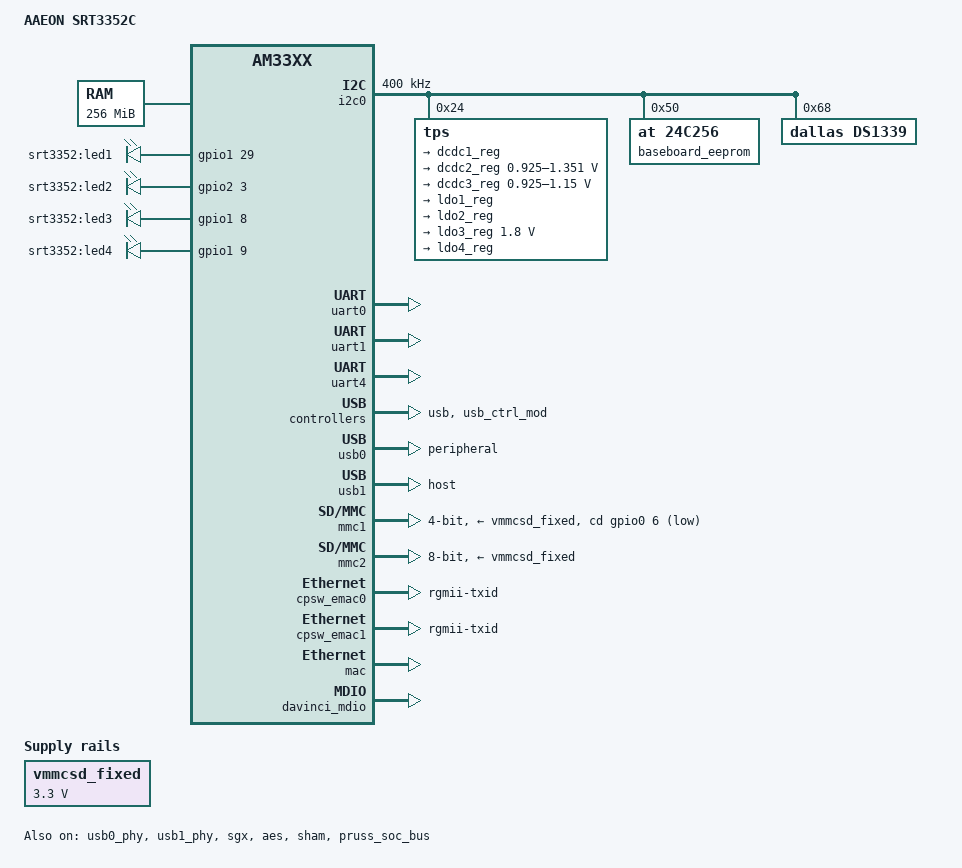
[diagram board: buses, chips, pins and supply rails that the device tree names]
/*
 * Copyright (C) 2012 Texas Instruments Incorporated - http://www.ti.com/
 *
 * This program is free software; you can redistribute it and/or modify
 * it under the terms of the GNU General Public License version 2 as
 * published by the Free Software Foundation.
 */
/dts-v1/;

#include "am33xx.dtsi"
#include "wl1837.dtsi"
#include <dt-bindings/display/tda998x.h>

/ {
	model = "AAEON SRT3352C";
	compatible = "ti,am335x-srt3352c", "ti,am33xx";

	cpus {
		cpu@0 {
			cpu0-supply = <&dcdc2_reg>;
		};
	};

	memory@80000000 {
		device_type = "memory";
		reg = <0x80000000 0x10000000>; /* 256 MB */
	};

	chosen {
		stdout-path = &uart0;
	};

	leds {
		pinctrl-names = "default";
		pinctrl-0 = <&user_leds_s0>;

		compatible = "gpio-leds";

		led2 {
			label = "srt3352:led1";
			gpios = <&gpio1 29 GPIO_ACTIVE_HIGH>;
			linux,default-trigger = "none";
			default-state = "off";
		};

		led3 {
			label = "srt3352:led2";
			gpios = <&gpio2 3 GPIO_ACTIVE_HIGH>;
			linux,default-trigger = "none";
			default-state = "off";
		};

		led4 {
			label = "srt3352:led3";
			gpios = <&gpio1 8 GPIO_ACTIVE_HIGH>;
			linux,default-trigger = "none";
			default-state = "off";
		};

		led5 {
			label = "srt3352:led4";
			gpios = <&gpio1 9 GPIO_ACTIVE_HIGH>;
			linux,default-trigger = "none";
			default-state = "off";
		};
	};

	vmmcsd_fixed: fixedregulator0 {
		compatible = "regulator-fixed";
		regulator-name = "vmmcsd_fixed";
		regulator-min-microvolt = <3300000>;
		regulator-max-microvolt = <3300000>;
	};
};

&am33xx_pinmux {
	pinctrl-names = "default";
	pinctrl-0 = <&clkout2_pin>;

	user_leds_s0: user_leds_s0 {
		pinctrl-single,pins = <
			AM33XX_IOPAD(0x87c, PIN_OUTPUT_PULLDOWN | MUX_MODE7)	/* gpmc_csn0.gpio1_29 */
			AM33XX_IOPAD(0x894, PIN_OUTPUT_PULLDOWN | MUX_MODE7)	/* gpmc_oen_ren.gpio2_3 */
			AM33XX_IOPAD(0x968, PIN_OUTPUT_PULLDOWN | MUX_MODE7)	/* uart0_ctsn.gpio1_8 */
			AM33XX_IOPAD(0x96c, PIN_OUTPUT_PULLDOWN | MUX_MODE7)	/* uart0_rtsn.gpio1_9 */
		>;
	};

	i2c0_pins: pinmux_i2c0_pins {
		pinctrl-single,pins = <
			AM33XX_IOPAD(0x988, PIN_INPUT_PULLUP | MUX_MODE0)	/* i2c0_sda.i2c0_sda */
			AM33XX_IOPAD(0x98c, PIN_INPUT_PULLUP | MUX_MODE0)	/* i2c0_scl.i2c0_scl */
		>;
	};

	uart0_pins: pinmux_uart0_pins {
		pinctrl-single,pins = <
			AM33XX_IOPAD(0x970, PIN_INPUT_PULLUP | MUX_MODE0)	/* uart0_rxd.uart0_rxd */
			AM33XX_IOPAD(0x974, PIN_OUTPUT_PULLDOWN | MUX_MODE0)	/* uart0_txd.uart0_txd */
		>;
	};

	uart1_pins: pinmux_uart1_pins {
		pinctrl-single,pins = <
			AM33XX_IOPAD(0x980, PIN_INPUT_PULLUP | MUX_MODE0)	/* uart1_rxd.uart1_rxd */
			AM33XX_IOPAD(0x984, PIN_OUTPUT_PULLDOWN | MUX_MODE0)	/* uart1_txd.uart1_txd */
			AM33XX_IOPAD(0x978, PIN_INPUT | MUX_MODE0)		/* uart1_ctsn.uart1_ctsn */
			AM33XX_IOPAD(0x97c, PIN_OUTPUT | MUX_MODE0)		/* uart1_rtsn.uart1_rtsn */
		>;
	};

	uart4_pins: pinmux_uart4_pins {
		pinctrl-single,pins = <
			AM33XX_IOPAD(0x870, PIN_INPUT_PULLUP | MUX_MODE6)	/* gpmc_wait0.uart4_rxd */
			AM33XX_IOPAD(0x874, PIN_OUTPUT_PULLDOWN | MUX_MODE6)	/* gpmc_wpn.uart4_txd */
		>;
	};

	clkout2_pin: pinmux_clkout2_pin {
		pinctrl-single,pins = <
			AM33XX_IOPAD(0x9b4, PIN_OUTPUT_PULLDOWN | MUX_MODE3)	/* xdma_event_intr1.clkout2 */
		>;
	};

	cpsw_default: cpsw_default {
		pinctrl-single,pins = <
			/* Slave 1 */
			AM33XX_IOPAD(0x914, PIN_OUTPUT_PULLDOWN | MUX_MODE2)	/* mii1_txen.rgmii1_tctl */
			AM33XX_IOPAD(0x918, PIN_INPUT_PULLDOWN | MUX_MODE2)	/* mii1_rxdv.rgmii1_rctl */
			AM33XX_IOPAD(0x91c, PIN_OUTPUT_PULLDOWN | MUX_MODE2)	/* mii1_txd3.rgmii1_td3 */
			AM33XX_IOPAD(0x920, PIN_OUTPUT_PULLDOWN | MUX_MODE2)	/* mii1_txd2.rgmii1_td2 */
			AM33XX_IOPAD(0x924, PIN_OUTPUT_PULLDOWN | MUX_MODE2)	/* mii1_txd1.rgmii1_td1 */
			AM33XX_IOPAD(0x928, PIN_OUTPUT_PULLDOWN | MUX_MODE2)	/* mii1_txd0.rgmii1_td0 */
			AM33XX_IOPAD(0x92c, PIN_OUTPUT_PULLDOWN | MUX_MODE2)	/* mii1_txclk.rgmii1_tclk */
			AM33XX_IOPAD(0x930, PIN_INPUT_PULLDOWN | MUX_MODE2)	/* mii1_rxclk.rgmii1_rclk */
			AM33XX_IOPAD(0x934, PIN_INPUT_PULLDOWN | MUX_MODE2)	/* mii1_rxd3.rgmii1_rd3 */
			AM33XX_IOPAD(0x938, PIN_INPUT_PULLDOWN | MUX_MODE2)	/* mii1_rxd2.rgmii1_rd2 */
			AM33XX_IOPAD(0x93c, PIN_INPUT_PULLDOWN | MUX_MODE2)	/* mii1_rxd1.rgmii1_rd1 */
			AM33XX_IOPAD(0x940, PIN_INPUT_PULLDOWN | MUX_MODE2)	/* mii1_rxd0.rgmii1_rd0 */
			/* Slave 2 */
			AM33XX_IOPAD(0x840, PIN_OUTPUT_PULLDOWN | MUX_MODE2)	/* gpmc_a0.rgmii2_tctl */
			AM33XX_IOPAD(0x844, PIN_INPUT_PULLDOWN | MUX_MODE2)	/* gpmc_a1.rgmii2_rctl */
			AM33XX_IOPAD(0x848, PIN_OUTPUT_PULLDOWN | MUX_MODE2)	/* gpmc_a2.rgmii2_td3 */
			AM33XX_IOPAD(0x84c, PIN_OUTPUT_PULLDOWN | MUX_MODE2)	/* gpmc_a3.rgmii2_td2 */
			AM33XX_IOPAD(0x850, PIN_OUTPUT_PULLDOWN | MUX_MODE2)	/* gpmc_a4.rgmii2_td1 */
			AM33XX_IOPAD(0x854, PIN_OUTPUT_PULLDOWN | MUX_MODE2)	/* gpmc_a5.rgmii2_td0 */
			AM33XX_IOPAD(0x858, PIN_OUTPUT_PULLDOWN | MUX_MODE2)	/* gpmc_a6.rgmii2_tclk */
			AM33XX_IOPAD(0x85c, PIN_INPUT_PULLDOWN | MUX_MODE2)	/* gpmc_a7.rgmii2_rclk */
			AM33XX_IOPAD(0x860, PIN_INPUT_PULLDOWN | MUX_MODE2)	/* gpmc_a8.rgmii2_rd3 */
			AM33XX_IOPAD(0x864, PIN_INPUT_PULLDOWN | MUX_MODE2)	/* gpmc_a9.rgmii2_rd2 */
			AM33XX_IOPAD(0x868, PIN_INPUT_PULLDOWN | MUX_MODE2)	/* gpmc_a10.rgmii2_rd1 */
			AM33XX_IOPAD(0x86c, PIN_INPUT_PULLDOWN | MUX_MODE2)	/* gpmc_a11.rgmii2_rd0 */
		>;
	};

	cpsw_sleep: cpsw_sleep {
		pinctrl-single,pins = <
			/* Slave 1 reset value */
			AM33XX_IOPAD(0x910, PIN_INPUT_PULLDOWN | MUX_MODE7)
			AM33XX_IOPAD(0x914, PIN_INPUT_PULLDOWN | MUX_MODE7)
			AM33XX_IOPAD(0x918, PIN_INPUT_PULLDOWN | MUX_MODE7)
			AM33XX_IOPAD(0x91c, PIN_INPUT_PULLDOWN | MUX_MODE7)
			AM33XX_IOPAD(0x920, PIN_INPUT_PULLDOWN | MUX_MODE7)
			AM33XX_IOPAD(0x924, PIN_INPUT_PULLDOWN | MUX_MODE7)
			AM33XX_IOPAD(0x928, PIN_INPUT_PULLDOWN | MUX_MODE7)
			AM33XX_IOPAD(0x92c, PIN_INPUT_PULLDOWN | MUX_MODE7)
			AM33XX_IOPAD(0x930, PIN_INPUT_PULLDOWN | MUX_MODE7)
			AM33XX_IOPAD(0x934, PIN_INPUT_PULLDOWN | MUX_MODE7)
			AM33XX_IOPAD(0x938, PIN_INPUT_PULLDOWN | MUX_MODE7)
			AM33XX_IOPAD(0x93c, PIN_INPUT_PULLDOWN | MUX_MODE7)
			AM33XX_IOPAD(0x940, PIN_INPUT_PULLDOWN | MUX_MODE7)
			/* Slave 2 reset value */
			AM33XX_IOPAD(0x840, PIN_INPUT_PULLDOWN | MUX_MODE7)
			AM33XX_IOPAD(0x844, PIN_INPUT_PULLDOWN | MUX_MODE7)
			AM33XX_IOPAD(0x848, PIN_INPUT_PULLDOWN | MUX_MODE7)
			AM33XX_IOPAD(0x84c, PIN_INPUT_PULLDOWN | MUX_MODE7)
			AM33XX_IOPAD(0x850, PIN_INPUT_PULLDOWN | MUX_MODE7)
			AM33XX_IOPAD(0x854, PIN_INPUT_PULLDOWN | MUX_MODE7)
			AM33XX_IOPAD(0x858, PIN_INPUT_PULLDOWN | MUX_MODE7)
			AM33XX_IOPAD(0x85c, PIN_INPUT_PULLDOWN | MUX_MODE7)
			AM33XX_IOPAD(0x860, PIN_INPUT_PULLDOWN | MUX_MODE7)
			AM33XX_IOPAD(0x864, PIN_INPUT_PULLDOWN | MUX_MODE7)
			AM33XX_IOPAD(0x868, PIN_INPUT_PULLDOWN | MUX_MODE7)
			AM33XX_IOPAD(0x86c, PIN_INPUT_PULLDOWN | MUX_MODE7)
		>;
	};

	davinci_mdio_default: davinci_mdio_default {
		pinctrl-single,pins = <
			/* MDIO */
			AM33XX_IOPAD(0x948, PIN_INPUT_PULLUP | SLEWCTRL_FAST | MUX_MODE0)	/* mdio_data.mdio_data */
			AM33XX_IOPAD(0x94c, PIN_OUTPUT_PULLUP | MUX_MODE0)			/* mdio_clk.mdio_clk */
		>;
	};

	davinci_mdio_sleep: davinci_mdio_sleep {
		pinctrl-single,pins = <
			/* MDIO reset value */
			AM33XX_IOPAD(0x948, PIN_INPUT_PULLDOWN | MUX_MODE7)
			AM33XX_IOPAD(0x94c, PIN_INPUT_PULLDOWN | MUX_MODE7)
		>;
	};

	mmc1_pins: pinmux_mmc1_pins {
		pinctrl-single,pins = <
			AM33XX_IOPAD(0x960, PIN_INPUT | MUX_MODE7) /* GPIO0_6 */
		>;
	};

	emmc_pins: pinmux_emmc_pins {
		pinctrl-single,pins = <
			AM33XX_IOPAD(0x880, PIN_INPUT_PULLUP | MUX_MODE2) /* gpmc_csn1.mmc1_clk */
			AM33XX_IOPAD(0x884, PIN_INPUT_PULLUP | MUX_MODE2) /* gpmc_csn2.mmc1_cmd */
			AM33XX_IOPAD(0x800, PIN_INPUT_PULLUP | MUX_MODE1) /* gpmc_ad0.mmc1_dat0 */
			AM33XX_IOPAD(0x804, PIN_INPUT_PULLUP | MUX_MODE1) /* gpmc_ad1.mmc1_dat1 */
			AM33XX_IOPAD(0x808, PIN_INPUT_PULLUP | MUX_MODE1) /* gpmc_ad2.mmc1_dat2 */
			AM33XX_IOPAD(0x80c, PIN_INPUT_PULLUP | MUX_MODE1) /* gpmc_ad3.mmc1_dat3 */
			AM33XX_IOPAD(0x810, PIN_INPUT_PULLUP | MUX_MODE1) /* gpmc_ad4.mmc1_dat4 */
			AM33XX_IOPAD(0x814, PIN_INPUT_PULLUP | MUX_MODE1) /* gpmc_ad5.mmc1_dat5 */
			AM33XX_IOPAD(0x818, PIN_INPUT_PULLUP | MUX_MODE1) /* gpmc_ad6.mmc1_dat6 */
			AM33XX_IOPAD(0x81c, PIN_INPUT_PULLUP | MUX_MODE1) /* gpmc_ad7.mmc1_dat7 */
		>;
	};
};

&cpu0_opp_table {
	/*
	 * All PG 2.0 silicon may not support 1GHz but some of the early
	 * BeagleBone Blacks have PG 2.0 silicon which is guaranteed
	 * to support 1GHz OPP so enable it for PG 2.0 on this board.
	 */
	oppnitro@1000000000 {
		opp-supported-hw = <0x06 0x0100>;
	};
};

&i2c0 {
	pinctrl-names = "default";
	pinctrl-0 = <&i2c0_pins>;

	status = "okay";
	clock-frequency = <400000>;

	tps: tps@24 {
		reg = <0x24>;
	};

	baseboard_eeprom: baseboard_eeprom@50 {
		compatible = "at,24c256";
		reg = <0x50>;

		#address-cells = <1>;
		#size-cells = <1>;
		baseboard_data: baseboard_data@0 {
			reg = <0 0x100>;
		};
	};

	ds1339: rtc@68 {
		compatible = "dallas,ds1339";
		trickle-resistor-ohms = <250>;
		reg = <0x68>;
	};
};

&uart0 {
	pinctrl-names = "default";
	pinctrl-0 = <&uart0_pins>;
	status = "okay";
};

&uart1 {
        pinctrl-names = "default";
        pinctrl-0 = <&uart1_pins>;
        status = "okay";
};

&uart4 {
        pinctrl-names = "default";
        pinctrl-0 = <&uart4_pins>;
        status = "okay";
};

&usb {
	status = "okay";
};

&usb_ctrl_mod {
	status = "okay";
};

&usb0_phy {
	status = "okay";
};

&usb1_phy {
	status = "okay";
};

&usb0 {
	status = "okay";
	dr_mode = "peripheral";
};

&usb1 {
	status = "okay";
	dr_mode = "host";
};

&cppi41dma  {
	status = "okay";
};

&mmc1 {
	vmmc-supply = <&vmmcsd_fixed>;
};

&mmc2 {
	vmmc-supply = <&vmmcsd_fixed>;
	pinctrl-names = "default";
	pinctrl-0 = <&emmc_pins>;
	bus-width = <8>;
	status = "okay";
};

&sgx {
	status = "okay";
};

#include "tps65217.dtsi"

&tps {
	/*
	 * Configure pmic to enter OFF-state instead of SLEEP-state ("RTC-only
	 * mode") at poweroff.  Most BeagleBone versions do not support RTC-only
	 * mode and risk hardware damage if this mode is entered.
	 *
	 * For details, see linux-omap mailing list May 2015 thread
	 *	[PATCH] ARM: dts: am335x-bone* enable pmic-shutdown-controller
	 * In particular, messages:
	 *	http://www.spinics.net/lists/linux-omap/msg118585.html
	 *	http://www.spinics.net/lists/linux-omap/msg118615.html
	 *
	 * You can override this later with
	 *	&tps {  /delete-property/ ti,pmic-shutdown-controller;  }
	 * if you want to use RTC-only mode and made sure you are not affected
	 * by the hardware problems. (Tip: double-check by performing a current
	 * measurement after shutdown: it should be less than 1 mA.)
	 */
	ti,pmic-shutdown-controller;
	ti,pmic-usb-off;

	regulators {
		dcdc1_reg: regulator@0 {
			regulator-name = "vdds_dpr";
			regulator-always-on;
		};

		dcdc2_reg: regulator@1 {
			/* VDD_MPU voltage limits 0.95V - 1.26V with +/-4% tolerance */
			regulator-name = "vdd_mpu";
			regulator-min-microvolt = <925000>;
			regulator-max-microvolt = <1351500>;
			regulator-boot-on;
			regulator-always-on;
		};

		dcdc3_reg: regulator@2 {
			/* VDD_CORE voltage limits 0.95V - 1.1V with +/-4% tolerance */
			regulator-name = "vdd_core";
			regulator-min-microvolt = <925000>;
			regulator-max-microvolt = <1150000>;
			regulator-boot-on;
			regulator-always-on;
		};

		ldo1_reg: regulator@3 {
			regulator-name = "vio,vrtc,vdds";
			regulator-always-on;
		};

		ldo2_reg: regulator@4 {
			regulator-name = "vdd_3v3aux";
			regulator-always-on;
		};

		ldo3_reg: regulator@5 {
			regulator-name = "vdd_1v8";
			regulator-always-on;
		};

		ldo4_reg: regulator@6 {
			regulator-name = "vdd_3v3a";
			regulator-always-on;
		};
	};
};

&ldo3_reg {
        regulator-min-microvolt = <1800000>;
        regulator-max-microvolt = <1800000>;
        regulator-always-on;
};

&cpsw_emac0 {
	phy_id = <&davinci_mdio>, <0>;
	phy-mode = "rgmii-txid";
	dual_emac_res_vlan = <1>;
};

&cpsw_emac1 {
        phy_id = <&davinci_mdio>, <1>;
        phy-mode = "rgmii-txid";
        dual_emac_res_vlan = <2>;
};

&mac {
	pinctrl-names = "default", "sleep";
	pinctrl-0 = <&cpsw_default>;
	pinctrl-1 = <&cpsw_sleep>;
	dual_emac = <1>;
	status = "okay";
};

&davinci_mdio {
	pinctrl-names = "default", "sleep";
	pinctrl-0 = <&davinci_mdio_default>;
	pinctrl-1 = <&davinci_mdio_sleep>;
	status = "okay";
};

&mmc1 {
	status = "okay";
	bus-width = <0x4>;
	pinctrl-names = "default";
	pinctrl-0 = <&mmc1_pins>;
	cd-gpios = <&gpio0 6 GPIO_ACTIVE_LOW>;
};

&aes {
	status = "okay";
};

&sham {
	status = "okay";
};

&rtc {
	clocks = <&clk_32768_ck>, <&l4_per_clkctrl AM3_CLKDIV32K_CLKCTRL 0>;
	clock-names = "ext-clk", "int-clk";
	system-power-controller;
};

&wkup_m3_ipc {
	ti,scale-data-fw = "am335x-bone-scale-data.bin";
};

&pruss_soc_bus {
	status = "okay";

	pruss: pruss@4a300000 {
		status = "okay";

		pru0: pru@4a334000 {
			status = "okay";
		};

		pru1: pru@4a338000 {
			status = "okay";
		};
	};
};

